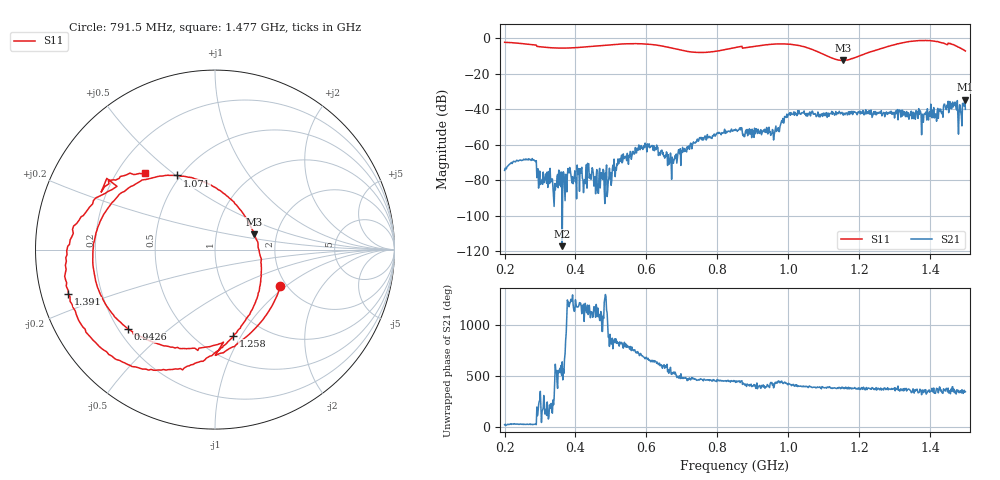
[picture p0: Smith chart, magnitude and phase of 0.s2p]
! NanoVNA-App
! Date: 2024-06-25 16:52:32
! Start: 200MHz Stop: 1.5GHz Points: 801
! S-Parameter data: F S11 S21 S12 S22
# Hz S RI R 50
!  Frequency  S11_Real  S11_Imag  S21_Real  S21_Imag  S12_Real  S12_Imag  S22_Real  S22_Imag
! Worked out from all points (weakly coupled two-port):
!   801 points, 200 MHz to 1.5 GHz, reference 50 ohm
!   highest |S21| = -34.71 dB at 1.498 GHz (marker M1); lowest = -117.1 dB at 362.5 MHz (marker M2)
!   lowest |S11| = -12.6 dB at 1.154 GHz (marker M3), VSWR 1.61, Z = 76.4 + j13.9 ohm
!   |S11| at or under -10 dB: 1.109 GHz to 1.202 GHz (92.66 MHz wide, 8.02 % of centre)
!   S12 and S22 are empty: the file has one direction only
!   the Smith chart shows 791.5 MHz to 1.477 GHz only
!   S11 on the Smith chart (normalised r, x): 791.5 MHz: 1.85, -0.92; 942.6 MHz: 0.24, -0.37; 1.071 GHz: 0.48, +0.50; 1.258 GHz: 0.73, -0.93; 1.391 GHz: 0.08, -0.15; 1.477 GHz: 0.31, +0.40
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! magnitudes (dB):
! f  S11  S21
! 200 MHz  -2.4  -74.5
! 276.4 MHz  -3.7  -68.4
! 302.4 MHz  -4.9  -82.0
! 362.5 MHz  -5.6  -117.1
! 417.8 MHz  -5.1  -72.7
! 495.8 MHz  -3.8  -73.2
! 580.2 MHz  -3.2  -60.9
! 633.9 MHz  -4.1  -66.1
! 669.6 MHz  -5.5  -68.4
! 791.5 MHz  -7.6  -54.0
! 850 MHz  -5.4  -52.0
! 942.6 MHz  -3.7  -53.9
! 1.003 GHz  -3.5  -42.3
! 1.068 GHz  -6.4  -41.1
! 1.071 GHz  -6.7  -42.9
! 1.154 GHz  -12.6  -42.9
! 1.258 GHz  -6.2  -41.6
! 1.284 GHz  -4.6  -42.4
! 1.391 GHz  -1.4  -46.1
! 1.477 GHz  -4.7  -35.2
! 1.498 GHz  -7.1  -34.7
! 1.5 GHz  -7.3  -40.1
